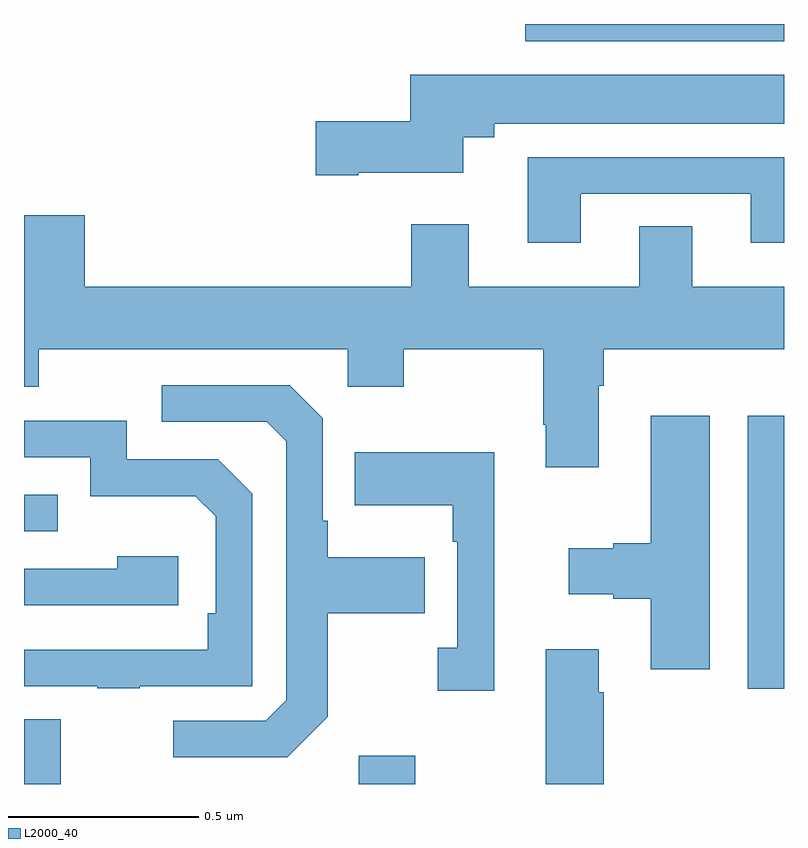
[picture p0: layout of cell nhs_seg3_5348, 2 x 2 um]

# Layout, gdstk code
import gdstk
lib = gdstk.Library(unit=1e-6, precision=1e-09)
def R(c, l, rs):  # rectangles x0, y0, x1, y1
    for r in rs: c.add(gdstk.rectangle(r[:2], r[2:], *l))
def P(c, l, *ps):  # polygons
    for p in ps: c.add(gdstk.Polygon(p, *l))
L2000_40 = (2000, 40)

nhs_seg3_5348 = lib.new_cell('nhs_seg3_5348')
R(nhs_seg3_5348, L2000_40, [(177,738.4,177.097,738.571), (177.881,738.4,178.029,738.475), (178.904,738.651,179,739.369), (177,739.065,177.089,739.161), (178.319,740.354,179,740.4)])
P(nhs_seg3_5348, L2000_40, [(177.88,740.009),(178.156,740.009),(178.156,740.102),(178.237,740.102),(178.237,740.138),(179,740.138),(179,740.266),(178.016,740.266),(178.016,740.144),(177.768,740.144),(177.768,740.002),(177.88,740.002)],
  [(178.465,739.953),(178.913,739.953),(178.913,739.824),(179,739.824),(179,740.049),(178.325,740.049),(178.325,739.824),(178.465,739.824)],
  [(178.513,739.448),(178.526,739.448),(178.526,739.544),(179,739.544),(179,739.708),(178.759,739.708),(178.759,739.868),(178.619,739.868),(178.619,739.708),(178.171,739.708),(178.171,739.873),(178.019,739.873),(178.019,739.708),(177.16,739.708),(177.16,739.897),(177,739.897),(177,739.445),(177.039,739.445),(177.039,739.544),(177.852,739.544),(177.852,739.445),(177.999,739.445),(177.999,739.544),(178.366,739.544),(178.366,739.345),(178.373,739.345),(178.373,739.233),(178.513,739.233)],
  [(177.799,738.577),(177.799,738.85),(178.055,738.85),(178.055,738.997),(177.799,738.997),(177.799,739.093),(177.786,739.093),(177.786,739.362),(177.699,739.449),(177.363,739.449),(177.363,739.353),(177.639,739.353),(177.69,739.302),(177.69,738.621),(177.636,738.567),(177.393,738.567),(177.393,738.471),(177.693,738.471)],
  [(178.804,739.369),(178.649,739.369),(178.649,739.034),(178.55,739.034),(178.55,739.021),(178.434,739.021),(178.434,738.899),(178.55,738.899),(178.55,738.887),(178.649,738.887),(178.649,738.702),(178.804,738.702)],
  [(177.305,738.657),(177.6,738.657),(177.6,739.164),(177.51,739.254),(177.27,739.254),(177.27,739.356),(177,739.356),(177,739.26),(177.174,739.26),(177.174,739.157),(177.451,739.157),(177.504,739.104),(177.504,738.85),(177.484,738.85),(177.484,738.753),(177,738.753),(177,738.657),(177.193,738.657),(177.193,738.652),(177.305,738.652)],
  [(178.238,739.273),(177.871,739.273),(177.871,739.133),(178.128,739.133),(178.128,739.037),(178.14,739.037),(178.14,738.758),(178.089,738.758),(178.089,738.645),(178.238,738.645)],
  [(177.406,739),(177.245,739),(177.245,738.966),(177,738.966),(177,738.87),(177.406,738.87)],
  [(178.526,738.641),(178.513,738.641),(178.513,738.754),(178.373,738.754),(178.373,738.4),(178.526,738.4)])

lib.write_gds('nhs_seg3_5348.gds')
